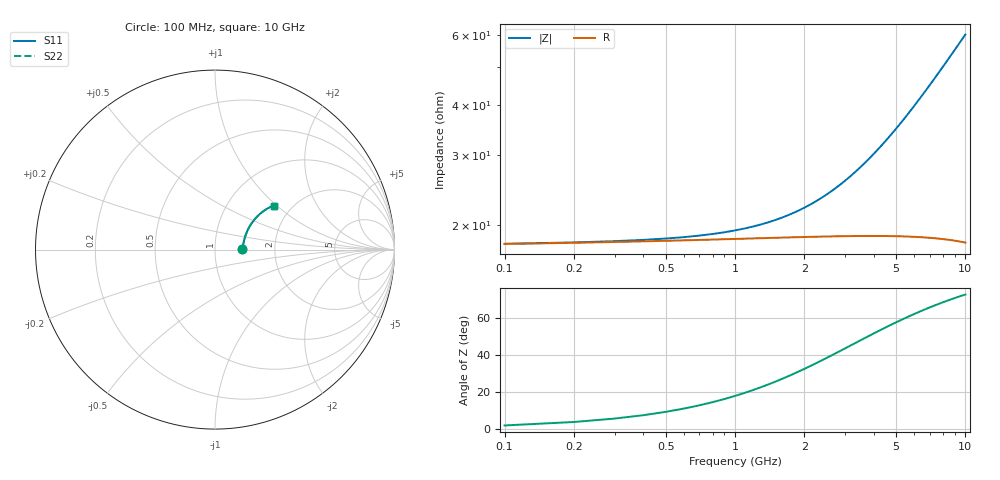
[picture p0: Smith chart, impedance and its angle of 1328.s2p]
# Hz S RI R 50.00
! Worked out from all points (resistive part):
!   100 points, 100 MHz to 10 GHz, reference 50 ohm
!   read as one part in series: R = 18 ohm at 100 MHz
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1e8  0.1523 0.00338  0.8477 -0.00512  0.8477 -0.00512  0.1523 0.00338
6e8  0.1557 0.0201  0.8442 -0.0306  0.8442 -0.0306  0.1557 0.0201
1e9  0.1582 0.0333  0.8416 -0.0508  0.8416 -0.0508  0.1582 0.0333
1.4e9  0.1609 0.0463  0.8387 -0.0708  0.8387 -0.0708  0.1609 0.0463
1.8e9  0.1642 0.0592  0.8353 -0.0907  0.8353 -0.0907  0.1642 0.0592
2.1e9  0.1669 0.0687  0.8323 -0.1055  0.8323 -0.1055  0.1669 0.0687
2.4e9  0.17 0.0782  0.829 -0.1201  0.829 -0.1201  0.17 0.0782
2.9e9  0.1757 0.0935  0.8229 -0.1443  0.8229 -0.1443  0.1757 0.0935
3.4e9  0.1823 0.1085  0.8158 -0.168  0.8158 -0.168  0.1823 0.1085
4.2e9  0.1944 0.1313  0.8026 -0.2049  0.8026 -0.2049  0.1944 0.1313
4.7e9  0.203 0.1449  0.7933 -0.2272  0.7933 -0.2272  0.203 0.1449
5.1e9  0.2103 0.1553  0.7853 -0.2447  0.7853 -0.2447  0.2103 0.1553
5.5e9  0.2181 0.1653  0.7768 -0.2617  0.7768 -0.2617  0.2181 0.1653
5.9e9  0.2263 0.1748  0.7679 -0.2783  0.7679 -0.2783  0.2263 0.1748
6.3e9  0.2348 0.1839  0.7586 -0.2945  0.7586 -0.2945  0.2348 0.1839
6.7e9  0.2437 0.1926  0.7488 -0.3102  0.7488 -0.3102  0.2437 0.1926
7.1e9  0.2529 0.2007  0.7387 -0.3255  0.7387 -0.3255  0.2529 0.2007
7.5e9  0.2623 0.2084  0.7283 -0.3402  0.7283 -0.3402  0.2623 0.2084
7.9e9  0.272 0.2156  0.7175 -0.3545  0.7175 -0.3545  0.272 0.2156
8.4e9  0.2845 0.2239  0.7036 -0.3717  0.7036 -0.3717  0.2845 0.2239
9.2e9  0.305 0.2355  0.6807 -0.3977  0.6807 -0.3977  0.305 0.2355
1e10  0.3261 0.2452  0.657 -0.4216  0.657 -0.4216  0.3261 0.2452
